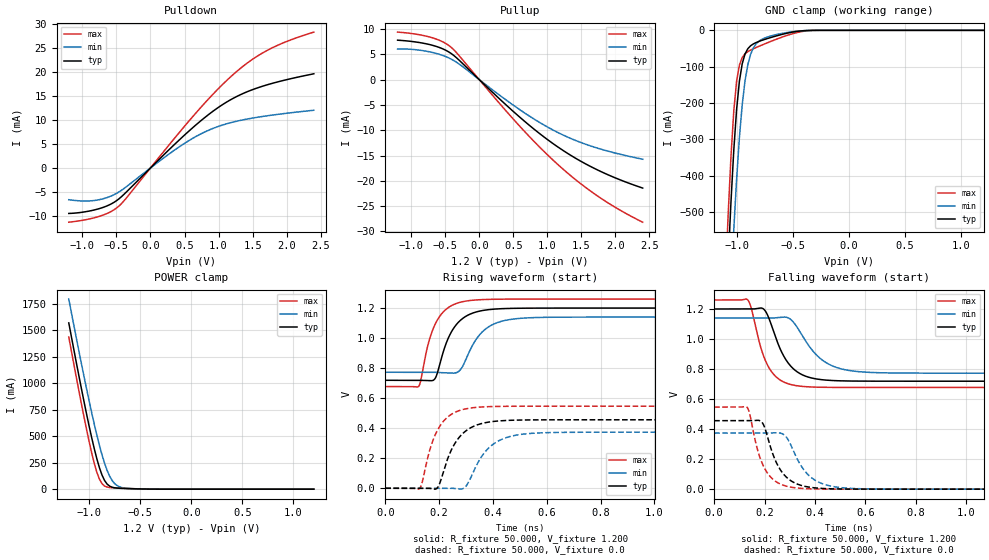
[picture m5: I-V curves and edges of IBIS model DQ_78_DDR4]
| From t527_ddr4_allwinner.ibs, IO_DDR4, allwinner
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|   Model DQ_78_DDR4
[Model] DQ_78_DDR4
Model_type I/O
Polarity   Non-Inverting
Enable   Active-Low
Vinl =  0.600V
Vinh =  0.600V
C_comp   1.593pF   1.555pF   1.643pF
C_comp_pullup   0.520pF   0.503pF   0.541pF
C_comp_pulldown   0.809pF   0.786pF   0.838pF
[Model Spec]
Vinh   0.600V   0.570V   0.630V
Vinl   0.600V   0.570V   0.630V
[Temperature Range]   25.000   0.125k   -40.000
[Voltage Range]   1.200V   1.140V   1.260V
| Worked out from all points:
|   slope of the pulldown table from 0 to 0.18 V, typ, clamps not added: 71.1 ohm
|   slope of the pullup table from 0 to 0.18 V, typ, clamps not added: 77.7 ohm
|   GND clamp passes 1 mA (typ) near -0.40 V on its own axis
|   POWER clamp passes 1 mA (typ) near -0.43 V on its own axis
|   rising waveform, R_fixture 50.000, V_fixture 1.200: 20-80 % time 69.9ps typ, 80.5ps min, 61.8ps max; typ from 0.719 V to 1.2 V
|   rising waveform, R_fixture 50.000, V_fixture 0.0: 20-80 % time 75.3ps typ, 86.5ps min, 66.2ps max; typ from 0 V to 0.456 V
|   falling waveform, R_fixture 50.000, V_fixture 1.200: 20-80 % time 81.3ps typ, 107ps min, 66.7ps max; typ from 1.2 V to 0.719 V
|   falling waveform, R_fixture 50.000, V_fixture 0.0: 20-80 % time 71ps typ, 84.5ps min, 61.6ps max; typ from 0.456 V to 0 V
[Pulldown]
|Voltage   I(typ)   I(min)   I(max)
-1.2V     -9.513mA   -6.644mA   -11.34mA
-830mV    -8.797mA   -6.811mA   -10.44mA
-645mV    -7.971mA   -6.226mA   -9.565mA
-497mV    -6.824mA   -5.303mA   -8.365mA
-386mV    -5.471mA   -4.264mA   -6.821mA
206mV     2.895mA    2.219mA    3.641mA
576mV     7.852mA    5.812mA    9.99mA
872mV     11.37mA    7.996mA    14.72mA
1.205V    14.48mA    9.56mA     19.41mA
1.464V    16.18mA    10.34mA    22.37mA
1.723V    17.42mA    10.92mA    24.64mA
2.4V      19.69mA    12.06mA    28.4mA
[Pullup]
|Voltage   I(typ)   I(min)   I(max)
-1.2V     7.808mA    6.048mA    9.407mA
-967mV    7.51mA     5.968mA    9.071mA
-745mV    6.987mA    5.542mA    8.489mA
-560mV    6.225mA    4.896mA    7.632mA
-449mV    5.487mA    4.307mA    6.774mA
-338mV    4.37mA     3.477mA    5.392mA
587mV     -7.325mA   -5.863mA   -9.1mA
1.142V    -13.2mA    -10.36mA   -16.63mA
1.438V    -15.72mA   -12.15mA   -20.03mA
1.734V    -17.83mA   -13.53mA   -22.97mA
2.067V    -19.8mA    -14.74mA   -25.8mA
2.4V      -21.43mA   -15.73mA   -28.18mA
[GND_clamp]
|Voltage   I(typ)   I(min)   I(max)
-1.2V     -1.58A     -1.767A    -1.488A
-1.1V     -814.7mA   -1.043A    -687.9mA
-1.075V   -635.1mA   -867.9mA   -505.2mA
-1.05V    -470.6mA   -700.9mA   -345.6mA
-1.025V   -328.8mA   -546.4mA   -221.2mA
-1V       -217.3mA   -409.4mA   -139.7mA
-950mV    -91.68mA   -204.1mA   -74.62mA
-925mV    -64.95mA   -138.5mA   -64.4mA
-875mV    -42.32mA   -65.59mA   -54.22mA
-775mV    -27.6mA    -24.67mA   -40.49mA
-475mV    -3.461mA   -2.765mA   -7.117mA
1.2V      0A         0A         0A
[POWER_clamp]
|Voltage   I(typ)   I(min)   I(max)
-1.2V     1.569A     1.794A     1.436A
-1.1V     1.065A     1.299A     923.3mA
-1.025V   705.5mA    943.2mA    559.5mA
-975mV    483.1mA    718.4mA    339.7mA
-925mV    286.3mA    509.5mA    159.2mA
-900mV    203.1mA    413.5mA    94.6mA
-850mV    82.64mA    246mA      29.88mA
-800mV    28.59mA    122.8mA    15.32mA
-725mV    10.03mA    32.68mA    10.49mA
-650mV    6.259mA    9.931mA    7.528mA
-450mV    1.297mA    1.702mA    1.414mA
1.2V      0A         0A         0A
[Ramp]
| variable   typ   min   max
dV/dt_r   0.274/75.337p   0.224/86.546p   0.328/66.237p
dV/dt_f   0.289/81.377p   0.220/0.107n   0.350/66.779p
R_load = 50.000
[Rising Waveform]
R_fixture= 50.000
V_fixture= 1.200
V_fixture_min= 1.140
V_fixture_max= 1.260
|time   V(typ)   V(min)   V(max)
0s        719mV      772.5mV    677.3mV
124ps     718.9mV    772.6mV    678.8mV
158ps     716.7mV    772.1mV    951.6mV
180ps     721.2mV    772.1mV    1.072V
242ps     1.03V      766.6mV    1.212V
276ps     1.113V     783.7mV    1.238V
303ps     1.149V     873.1mV    1.248V
375ps     1.188V     1.064V     1.257V
493ps     1.199V     1.13V      1.26V
2ns       1.2V       1.14V      1.26V
[Rising Waveform]
R_fixture= 50.000
V_fixture= 0.0
V_fixture_min= 0.0
V_fixture_max= 0.0
|time   V(typ)   V(min)   V(max)
0s        3.468uV    74.96uV    272.3nV
128ps     372.5uV    119.4uV    -617.3uV
166ps     -1.018mV   66.57uV    259.9mV
190ps     -2.816mV   371.6uV    373.5mV
252ps     278.5mV    -656.9uV   499.5mV
290ps     368.2mV    -923.4uV   525.4mV
313ps     398.7mV    53.41mV    533.5mV
390ps     442.3mV    277.8mV    544mV
514ps     454.7mV    360.9mV    546.4mV
2ns       456.1mV    373.5mV    546.6mV
[Falling Waveform]
R_fixture= 50.000
V_fixture= 1.200
V_fixture_min= 1.140
V_fixture_max= 1.260
|time   V(typ)   V(min)   V(max)
0s        1.2V       1.14V      1.26V
133ps     1.2V       1.14V      1.261V
148ps     1.2V       1.14V      1.201V
196ps     1.2V       1.14V      887.7mV
247ps     997.5mV    1.142V     746.3mV
283ps     866.8mV    1.146V     708.6mV
325ps     787mV      1.089V     689.7mV
430ps     728.5mV    858.8mV    678.5mV
562ps     719.8mV    784.6mV    677.4mV
2ns       719mV      772.5mV    677.3mV
[Falling Waveform]
R_fixture= 50.000
V_fixture= 0.0
V_fixture_min= 0.0
V_fixture_max= 0.0
|time   V(typ)   V(min)   V(max)
0s        456.1mV    373.5mV    546.6mV
131ps     455.9mV    373.4mV    544.4mV
186ps     451.9mV    373.4mV    191.7mV
214ps     336mV      374mV      101.7mV
250ps     166.4mV    376.3mV    45.16mV
281ps     89.66mV    356.8mV    22.51mV
308ps     52.46mV    280.5mV    12.28mV
382ps     12.21mV    82.22mV    2.336mV
502ps     1.16mV     10.5mV     157.4uV
2ns       3.473uV    74.91uV    270.1nV
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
